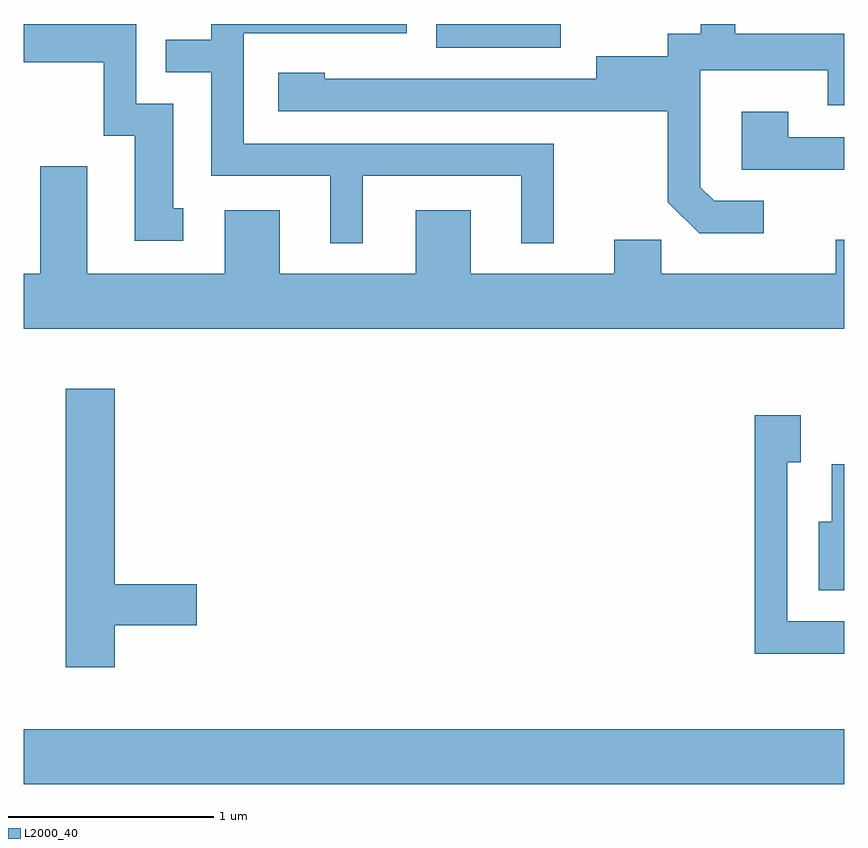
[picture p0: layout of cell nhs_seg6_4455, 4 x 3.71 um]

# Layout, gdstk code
import gdstk
lib = gdstk.Library(unit=1e-6, precision=1e-09)
def R(c, l, rs):  # rectangles x0, y0, x1, y1
    for r in rs: c.add(gdstk.rectangle(r[:2], r[2:], *l))
def P(c, l, *ps):  # polygons
    for p in ps: c.add(gdstk.Polygon(p, *l))
L2000_40 = (2000, 40)

nhs_seg6_4455 = lib.new_cell('nhs_seg6_4455')
R(nhs_seg6_4455, L2000_40, [(321.611,1574.456,325.611,1574.724), (323.623,1578.046,324.229,1578.162)])
P(nhs_seg6_4455, L2000_40, [(323.264,1577.421),(324.036,1577.421),(324.036,1577.093),(324.194,1577.093),(324.194,1577.579),(322.684,1577.579),(322.684,1578.116),(323.479,1578.116),(323.479,1578.162),(322.526,1578.162),(322.526,1578.084),(322.303,1578.084),(322.303,1577.926),(322.526,1577.926),(322.526,1577.421),(323.106,1577.421),(323.106,1577.093),(323.264,1577.093)],
  [(322.388,1577.264),(322.339,1577.264),(322.339,1577.774),(322.159,1577.774),(322.159,1578.162),(321.611,1578.162),(321.611,1577.976),(322.001,1577.976),(322.001,1577.616),(322.151,1577.616),(322.151,1577.106),(322.388,1577.106)],
  [(325.218,1577.299),(324.977,1577.299),(324.909,1577.367),(324.909,1577.936),(325.531,1577.936),(325.531,1577.766),(325.611,1577.766),(325.611,1578.114),(325.079,1578.114),(325.079,1578.162),(324.911,1578.162),(324.911,1578.114),(324.751,1578.114),(324.751,1578.004),(324.401,1578.004),(324.401,1577.894),(323.079,1577.894),(323.079,1577.924),(322.851,1577.924),(322.851,1577.736),(324.751,1577.736),(324.751,1577.294),(324.904,1577.141),(325.218,1577.141)],
  [(325.611,1577.609),(325.339,1577.609),(325.339,1577.734),(325.111,1577.734),(325.111,1577.451),(325.611,1577.451)],
  [(325.611,1577.109),(325.571,1577.109),(325.571,1576.944),(324.719,1576.944),(324.719,1577.109),(324.491,1577.109),(324.491,1576.944),(323.789,1576.944),(323.789,1577.254),(323.521,1577.254),(323.521,1576.944),(322.859,1576.944),(322.859,1577.254),(322.591,1577.254),(322.591,1576.944),(321.919,1576.944),(321.919,1577.469),(321.691,1577.469),(321.691,1576.944),(321.611,1576.944),(321.611,1576.676),(325.611,1576.676)],
  [(322.054,1575.231),(322.454,1575.231),(322.454,1575.429),(322.054,1575.429),(322.054,1576.384),(321.816,1576.384),(321.816,1575.026),(322.054,1575.026)],
  [(325.611,1575.249),(325.334,1575.249),(325.334,1576.026),(325.399,1576.026),(325.399,1576.254),(325.176,1576.254),(325.176,1575.091),(325.611,1575.091)],
  [(325.611,1576.014),(325.551,1576.014),(325.551,1575.734),(325.486,1575.734),(325.486,1575.401),(325.611,1575.401)])

lib.write_gds('nhs_seg6_4455.gds')
